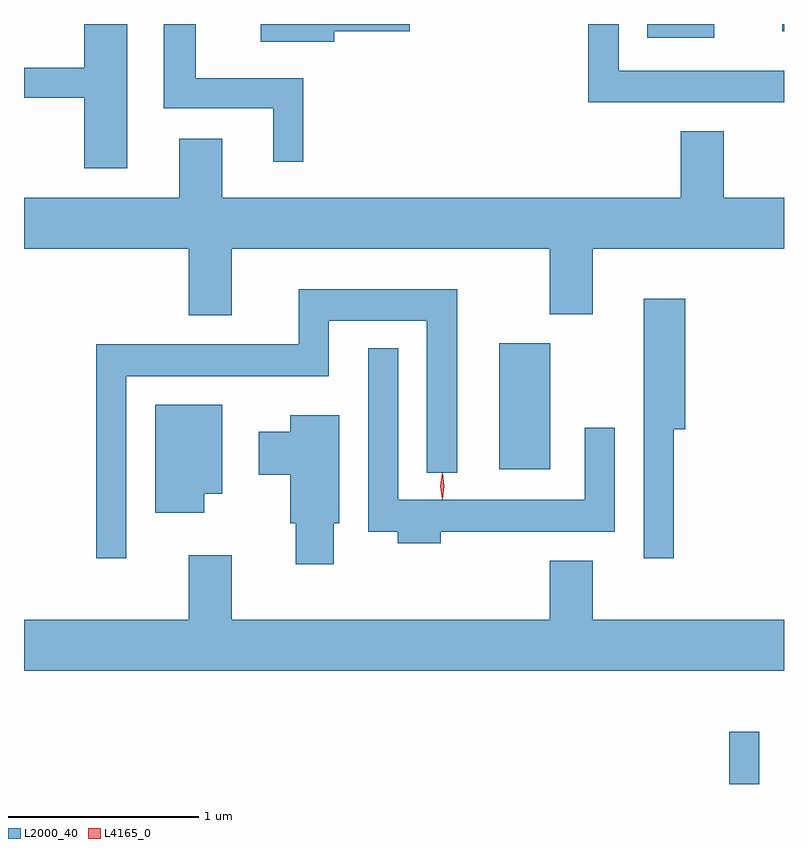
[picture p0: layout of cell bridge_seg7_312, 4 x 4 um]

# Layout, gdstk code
import gdstk
lib = gdstk.Library(unit=1e-6, precision=1e-09)
def R(c, l, rs):  # rectangles x0, y0, x1, y1
    for r in rs: c.add(gdstk.rectangle(r[:2], r[2:], *l))
def P(c, l, *ps):  # polygons
    for p in ps: c.add(gdstk.Polygon(p, *l))
L2000_40 = (2000, 40)
L4165_0 = (4165, 0)

bridge_seg7_312 = lib.new_cell('bridge_seg7_312')
R(bridge_seg7_312, L2000_40, [(1230.266,1751.459,1230.424,1751.733), (1229.056,1753.116,1229.324,1753.779), (1229.836,1755.386,1230.189,1755.459), (1230.546,1755.421,1230.555,1755.459)])
P(bridge_seg7_312, L2000_40, [(1228.189,1755.421),(1228.584,1755.421),(1228.584,1755.459),(1227.801,1755.459),(1227.801,1755.366),(1228.189,1755.366)],
  [(1228.024,1755.174),(1227.459,1755.174),(1227.459,1755.459),(1227.291,1755.459),(1227.291,1755.016),(1227.866,1755.016),(1227.866,1754.733),(1228.024,1754.733)],
  [(1230.555,1755.214),(1229.684,1755.214),(1229.684,1755.459),(1229.526,1755.459),(1229.526,1755.046),(1230.555,1755.046)],
  [(1227.099,1755.459),(1226.871,1755.459),(1226.871,1755.229),(1226.555,1755.229),(1226.555,1755.071),(1226.871,1755.071),(1226.871,1754.701),(1227.099,1754.701)],
  [(1227.649,1754.276),(1229.321,1754.276),(1229.321,1753.931),(1229.549,1753.931),(1229.549,1754.276),(1230.555,1754.276),(1230.555,1754.544),(1230.239,1754.544),(1230.239,1754.894),(1230.011,1754.894),(1230.011,1754.544),(1227.599,1754.544),(1227.599,1754.854),(1227.371,1754.854),(1227.371,1754.544),(1226.555,1754.544),(1226.555,1754.276),(1227.421,1754.276),(1227.421,1753.926),(1227.649,1753.926)],
  [(1227.094,1753.606),(1228.159,1753.606),(1228.159,1753.896),(1228.676,1753.896),(1228.676,1753.098),(1228.834,1753.098),(1228.834,1754.064),(1228.001,1754.064),(1228.001,1753.774),(1226.936,1753.774),(1226.936,1752.648),(1227.094,1752.648)],
  [(1229.974,1753.326),(1230.034,1753.326),(1230.034,1754.014),(1229.816,1754.014),(1229.816,1752.648),(1229.974,1752.648)],
  [(1228.749,1752.786),(1229.664,1752.786),(1229.664,1753.333),(1229.506,1753.333),(1229.506,1752.954),(1228.524,1752.954),(1228.524,1753.753),(1228.366,1753.753),(1228.366,1752.786),(1228.521,1752.786),(1228.521,1752.726),(1228.749,1752.726)],
  [(1227.504,1752.986),(1227.599,1752.986),(1227.599,1753.454),(1227.246,1753.454),(1227.246,1752.886),(1227.504,1752.886)],
  [(1228.184,1752.831),(1228.214,1752.831),(1228.214,1753.399),(1227.956,1753.399),(1227.956,1753.314),(1227.791,1753.314),(1227.791,1753.086),(1227.956,1753.086),(1227.956,1752.831),(1227.986,1752.831),(1227.986,1752.616),(1228.184,1752.616)],
  [(1230.555,1752.324),(1229.549,1752.324),(1229.549,1752.634),(1229.321,1752.634),(1229.321,1752.324),(1227.649,1752.324),(1227.649,1752.664),(1227.421,1752.664),(1227.421,1752.324),(1226.555,1752.324),(1226.555,1752.056),(1230.555,1752.056)])
P(bridge_seg7_312, L4165_0, [(1228.757,1752.957),(1228.757,1752.957),(1228.747,1753.027),(1228.757,1753.096),(1228.757,1753.096),(1228.758,1753.096),(1228.767,1753.027),(1228.758,1752.957)])

lib.write_gds('bridge_seg7_312.gds')
